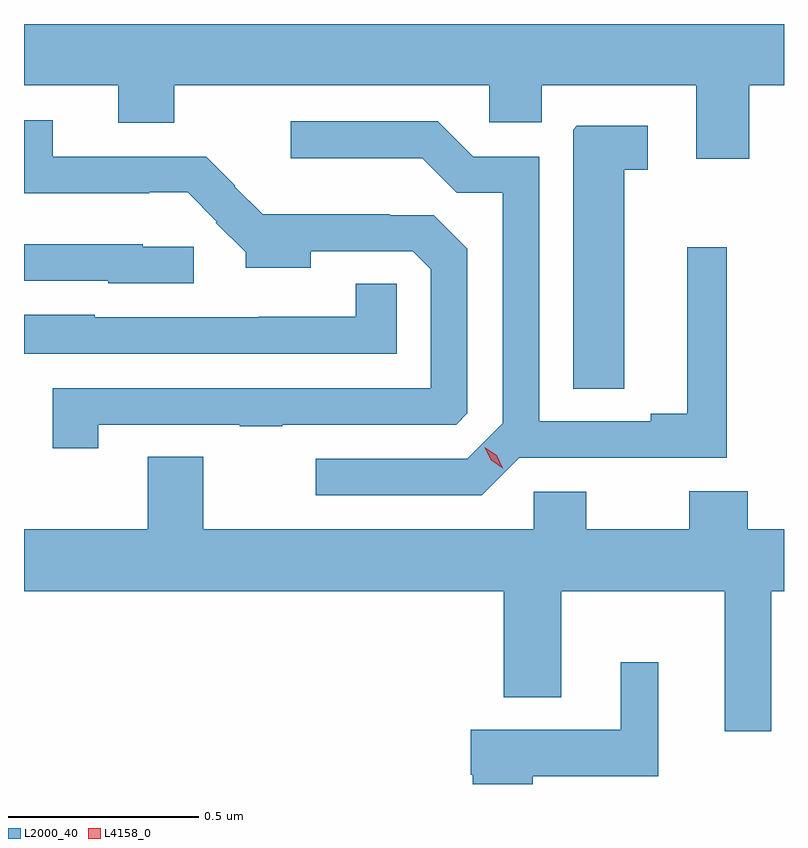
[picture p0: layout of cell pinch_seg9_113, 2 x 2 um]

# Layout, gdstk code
import gdstk
lib = gdstk.Library(unit=1e-6, precision=1e-09)
def P(c, l, *ps):  # polygons
    for p in ps: c.add(gdstk.Polygon(p, *l))
L2000_40 = (2000, 40)
L4158_0 = (4158, 0)

pinch_seg9_113 = lib.new_cell('pinch_seg9_113')
P(pinch_seg9_113, L2000_40, [(1062.292,1205.744),(1062.383,1205.744),(1062.383,1205.905),(1060.383,1205.905),(1060.383,1205.744),(1060.631,1205.744),(1060.631,1205.645),(1060.779,1205.645),(1060.779,1205.744),(1061.607,1205.744),(1061.607,1205.646),(1061.746,1205.646),(1061.746,1205.744),(1062.152,1205.744),(1062.152,1205.55),(1062.292,1205.55)],
  [(1060.578,1204.851),(1060.951,1204.851),(1060.951,1204.846),(1061.063,1204.846),(1061.063,1204.851),(1061.52,1204.851),(1061.55,1204.881),(1061.55,1205.313),(1061.461,1205.402),(1061.345,1205.402),(1061.345,1205.404),(1061.011,1205.404),(1060.937,1205.477),(1060.939,1205.479),(1060.863,1205.556),(1060.459,1205.556),(1060.459,1205.652),(1060.383,1205.652),(1060.383,1205.459),(1060.712,1205.459),(1060.712,1205.462),(1060.814,1205.462),(1060.89,1205.385),(1060.887,1205.382),(1060.966,1205.304),(1060.966,1205.264),(1061.137,1205.264),(1061.137,1205.307),(1061.406,1205.307),(1061.454,1205.259),(1061.454,1204.947),(1060.459,1204.947),(1060.459,1204.788),(1060.578,1204.788)],
  [(1061.686,1204.764),(1062.232,1204.764),(1062.232,1205.317),(1062.128,1205.317),(1062.128,1204.88),(1062.032,1204.88),(1062.032,1204.86),(1061.739,1204.86),(1061.739,1205.556),(1061.565,1205.556),(1061.472,1205.649),(1061.085,1205.649),(1061.085,1205.552),(1061.431,1205.552),(1061.522,1205.461),(1061.643,1205.461),(1061.643,1204.854),(1061.55,1204.761),(1061.151,1204.761),(1061.151,1204.665),(1061.587,1204.665)],
  [(1061.962,1205.521),(1062.025,1205.521),(1062.025,1205.637),(1061.838,1205.637),(1061.828,1205.627),(1061.828,1204.945),(1061.962,1204.945)],
  [(1060.83,1205.319),(1060.695,1205.319),(1060.695,1205.326),(1060.383,1205.326),(1060.383,1205.229),(1060.605,1205.229),(1060.605,1205.223),(1060.83,1205.223)],
  [(1061.364,1205.222),(1061.256,1205.222),(1061.256,1205.134),(1061.001,1205.134),(1061.001,1205.133),(1060.569,1205.133),(1060.569,1205.14),(1060.383,1205.14),(1060.383,1205.037),(1061.364,1205.037)],
  [(1062.349,1204.412),(1062.383,1204.412),(1062.383,1204.576),(1062.287,1204.576),(1062.287,1204.675),(1062.134,1204.675),(1062.134,1204.576),(1061.863,1204.576),(1061.863,1204.674),(1061.724,1204.674),(1061.724,1204.576),(1060.855,1204.576),(1060.855,1204.766),(1060.708,1204.766),(1060.708,1204.576),(1060.383,1204.576),(1060.383,1204.412),(1061.645,1204.412),(1061.645,1204.133),(1061.797,1204.133),(1061.797,1204.412),(1062.227,1204.412),(1062.227,1204.044),(1062.349,1204.044)],
  [(1061.722,1203.926),(1062.052,1203.926),(1062.052,1204.225),(1061.954,1204.225),(1061.954,1204.048),(1061.558,1204.048),(1061.558,1203.93),(1061.564,1203.93),(1061.564,1203.905),(1061.722,1203.905)])
P(pinch_seg9_113, L4158_0, [(1061.643,1204.736),(1061.612,1204.757),(1061.596,1204.79),(1061.596,1204.791),(1061.596,1204.791),(1061.627,1204.77),(1061.643,1204.736),(1061.643,1204.736)])

lib.write_gds('pinch_seg9_113.gds')
